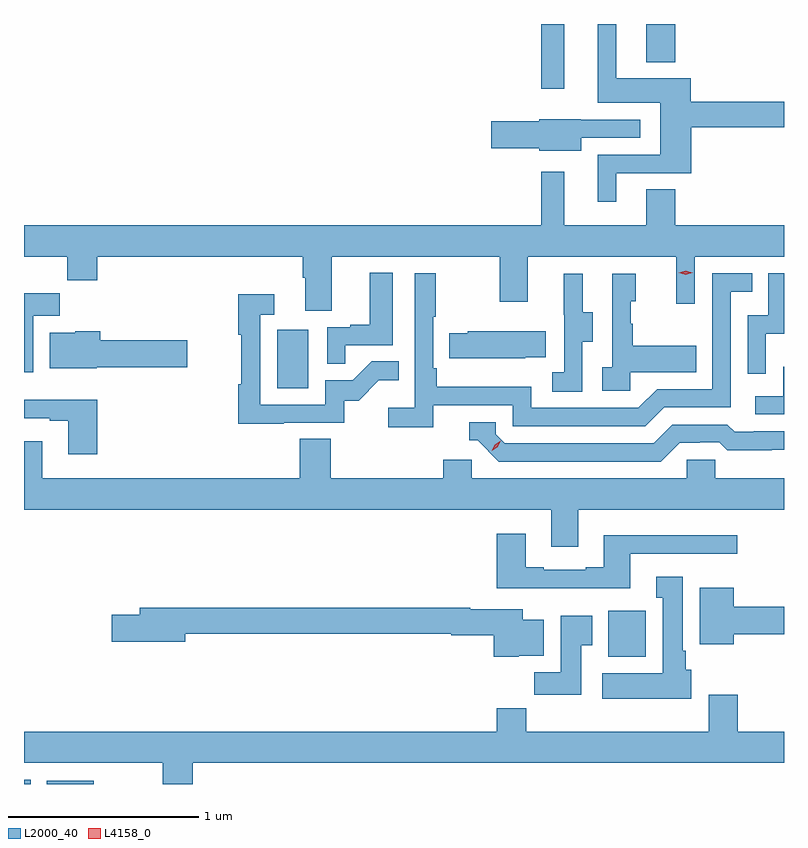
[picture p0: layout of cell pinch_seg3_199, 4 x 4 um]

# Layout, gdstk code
import gdstk
lib = gdstk.Library(unit=1e-6, precision=1e-09)
def R(c, l, rs):  # rectangles x0, y0, x1, y1
    for r in rs: c.add(gdstk.rectangle(r[:2], r[2:], *l))
def P(c, l, *ps):  # polygons
    for p in ps: c.add(gdstk.Polygon(p, *l))
L2000_40 = (2000, 40)
L4158_0 = (4158, 0)

pinch_seg3_199 = lib.new_cell('pinch_seg3_199')
R(pinch_seg3_199, L2000_40, [(968.959,728.776,968.994,728.799), (969.079,728.776,969.325,728.793), (972.035,729.446,972.232,729.688), (970.292,730.86,970.456,731.167), (971.682,732.435,971.803,732.776), (972.233,732.575,972.386,732.776)])
P(pinch_seg3_199, L2000_40, [(972.076,731.991),(972.472,731.991),(972.472,732.232),(972.959,732.232),(972.959,732.368),(972.467,732.368),(972.467,732.49),(972.076,732.49),(972.076,732.776),(971.978,732.776),(971.978,732.362),(972.308,732.362),(972.308,732.087),(971.978,732.087),(971.978,731.841),(972.076,731.841)],
  [(971.893,732.177),(972.202,732.177),(972.202,732.273),(971.889,732.273),(971.889,732.274),(971.67,732.274),(971.67,732.263),(971.418,732.263),(971.418,732.121),(971.67,732.121),(971.67,732.11),(971.893,732.11)],
  [(970.579,731.552),(971.464,731.552),(971.464,731.313),(971.611,731.313),(971.611,731.552),(972.392,731.552),(972.392,731.304),(972.489,731.304),(972.489,731.552),(972.959,731.552),(972.959,731.716),(972.386,731.716),(972.386,731.906),(972.233,731.906),(972.233,731.716),(971.803,731.716),(971.803,731.998),(971.682,731.998),(971.682,731.716),(968.959,731.716),(968.959,731.552),(969.187,731.552),(969.187,731.428),(969.344,731.428),(969.344,731.552),(970.427,731.552),(970.427,731.44),(970.439,731.44),(970.439,731.266),(970.579,731.266)],
  [(970.649,731.085),(970.9,731.085),(970.9,731.467),(970.778,731.467),(970.778,731.194),(970.675,731.194),(970.675,731.181),(970.554,731.181),(970.554,730.987),(970.649,730.987)],
  [(971.114,730.77),(971.532,730.77),(971.532,730.659),(972.229,730.659),(972.328,730.758),(972.678,730.758),(972.678,731.367),(972.791,731.367),(972.791,731.463),(972.582,731.463),(972.582,730.854),(972.291,730.854),(972.192,730.755),(971.628,730.755),(971.628,730.867),(971.132,730.867),(971.132,730.963),(971.112,730.963),(971.112,731.236),(971.125,731.236),(971.125,731.464),(971.016,731.464),(971.016,730.756),(970.875,730.756),(970.875,730.654),(971.114,730.654)],
  [(972.864,731.147),(972.959,731.147),(972.959,731.463),(972.876,731.463),(972.876,731.244),(972.768,731.244),(972.768,730.935),(972.864,730.935)],
  [(971.898,731.104),(971.953,731.104),(971.953,731.259),(971.899,731.259),(971.899,731.461),(971.801,731.461),(971.801,731.247),(971.802,731.247),(971.802,730.943),(971.739,730.943),(971.739,730.84),(971.898,730.84)],
  [(972.15,730.943),(972.497,730.943),(972.497,731.083),(972.163,731.083),(972.163,731.198),(972.153,731.198),(972.153,731.316),(972.178,731.316),(972.178,731.461),(972.054,731.461),(972.054,730.97),(972.003,730.97),(972.003,730.845),(972.15,730.845)],
  [(969.007,731.24),(969.146,731.24),(969.146,731.358),(968.959,731.358),(968.959,730.944),(969.007,730.944)],
  [(970.325,730.677),(970.644,730.677),(970.644,730.794),(970.72,730.794),(970.827,730.901),(970.931,730.901),(970.931,731),(970.788,731),(970.69,730.902),(970.545,730.902),(970.545,730.773),(970.203,730.773),(970.203,731.247),(970.276,731.247),(970.276,731.353),(970.087,731.353),(970.087,731.14),(970.102,731.14),(970.102,730.88),(970.087,730.88),(970.087,730.672),(970.325,730.672)],
  [(971.597,731.021),(971.705,731.021),(971.705,731.158),(971.295,731.158),(971.295,731.148),(971.197,731.148),(971.197,731.018),(971.597,731.018)],
  [(969.342,730.97),(969.817,730.97),(969.817,731.112),(969.359,731.112),(969.359,731.158),(969.228,731.158),(969.228,731.152),(969.095,731.152),(969.095,730.964),(969.342,730.964)],
  [(972.959,730.972),(972.954,730.972),(972.954,730.818),(972.807,730.818),(972.807,730.722),(972.959,730.722)],
  [(969.344,730.798),(968.959,730.798),(968.959,730.701),(969.095,730.701),(969.095,730.689),(969.191,730.689),(969.191,730.512),(969.344,730.512)],
  [(972.409,730.572),(972.516,730.572),(972.516,730.575),(972.619,730.575),(972.661,730.533),(972.894,730.533),(972.894,730.535),(972.959,730.535),(972.959,730.632),(972.799,730.632),(972.799,730.629),(972.7,730.629),(972.661,730.668),(972.372,730.668),(972.273,730.569),(971.49,730.569),(971.442,730.617),(971.442,730.68),(971.303,730.68),(971.303,730.584),(971.346,730.584),(971.457,730.473),(972.31,730.473)],
  [(971.875,730.22),(972.959,730.22),(972.959,730.384),(972.597,730.384),(972.597,730.482),(972.447,730.482),(972.447,730.384),(971.316,730.384),(971.316,730.482),(971.165,730.482),(971.165,730.384),(970.574,730.384),(970.574,730.592),(970.409,730.592),(970.409,730.384),(969.055,730.384),(969.055,730.579),(968.959,730.579),(968.959,730.22),(971.735,730.22),(971.735,730.026),(971.875,730.026)],
  [(972.151,729.987),(972.712,729.987),(972.712,730.084),(972.011,730.084),(972.011,729.916),(971.915,729.916),(971.915,729.903),(971.695,729.903),(971.695,729.916),(971.599,729.916),(971.599,730.093),(971.447,730.093),(971.447,729.806),(972.151,729.806)],
  [(972.472,729.378),(972.442,729.378),(972.442,729.478),(972.427,729.478),(972.427,729.868),(972.287,729.868),(972.287,729.755),(972.32,729.755),(972.32,729.358),(972.003,729.358),(972.003,729.224),(972.472,729.224)],
  [(972.694,729.563),(972.959,729.563),(972.959,729.71),(972.694,729.71),(972.694,729.808),(972.515,729.808),(972.515,729.512),(972.694,729.512)],
  [(971.562,729.452),(971.695,729.452),(971.695,729.64),(971.584,729.64),(971.584,729.697),(971.308,729.697),(971.308,729.704),(969.569,729.704),(969.569,729.668),(969.42,729.668),(969.42,729.526),(969.808,729.526),(969.808,729.568),(971.208,729.568),(971.208,729.56),(971.432,729.56),(971.432,729.446),(971.562,729.446)],
  [(971.893,729.505),(971.95,729.505),(971.95,729.661),(971.783,729.661),(971.783,729.364),(971.644,729.364),(971.644,729.246),(971.893,729.246)],
  [(969.848,728.888),(972.959,728.888),(972.959,729.052),(972.716,729.052),(972.716,729.247),(972.563,729.247),(972.563,729.052),(971.603,729.052),(971.603,729.176),(971.447,729.176),(971.447,729.052),(968.959,729.052),(968.959,728.888),(969.688,728.888),(969.688,728.776),(969.848,728.776)])
P(pinch_seg3_199, L4158_0, [(972.442,731.457),(972.406,731.467),(972.406,731.468),(972.406,731.468),(972.442,731.478),(972.477,731.468),(972.478,731.468),(972.477,731.467)],
  [(971.42,730.529),(971.42,730.53),(971.436,730.562),(971.467,730.582),(971.467,730.582),(971.467,730.582),(971.451,730.549),(971.42,730.529)])

lib.write_gds('pinch_seg3_199.gds')
